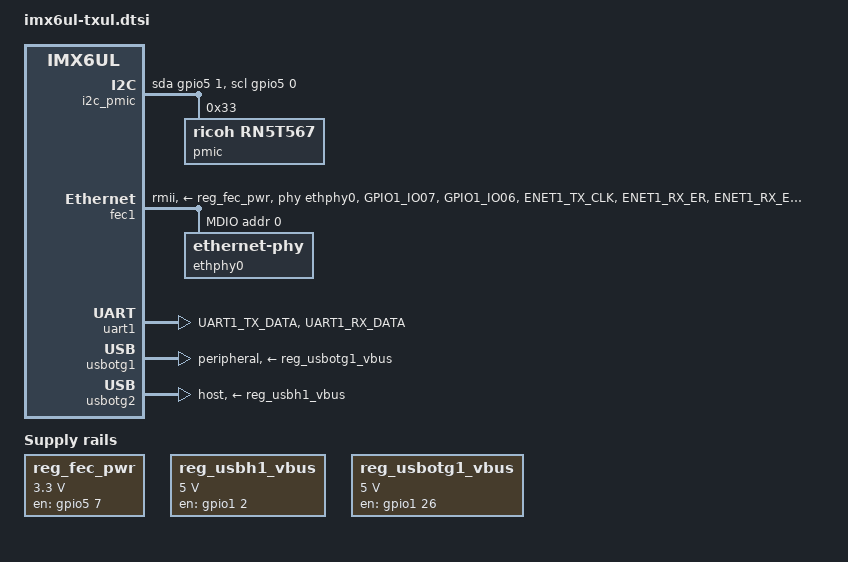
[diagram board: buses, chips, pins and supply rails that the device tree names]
// SPDX-License-Identifier: GPL-2.0+
/*
 * Copyright (C) 2026 Ka-Ro Electronics GmbH
 * TXUL module common part; SNVS groups stay per module.
 */

/ {
	aliases {
		/* Keep the PMIC bus at i2c0, like the legacy. */
		i2c0 = &i2c_pmic;
		serial0 = &uart1;
		usb0 = &usbotg1;
	};

	chosen {
		stdout-path = &uart1;
	};

	i2c_pmic: i2c-gpio {
		#address-cells = <1>;
		#size-cells = <0>;
		compatible = "i2c-gpio";
		pinctrl-names = "default";
		pinctrl-0 = <&pinctrl_i2c_pmic>;
		sda-gpios = <&gpio5 1 (GPIO_ACTIVE_HIGH | GPIO_OPEN_DRAIN)>;
		scl-gpios = <&gpio5 0 (GPIO_ACTIVE_HIGH | GPIO_OPEN_DRAIN)>;
		i2c-gpio,delay-us = <5>;
		status = "okay";

		pmic: pmic@33 {
			compatible = "ricoh,rn5t567";
			reg = <0x33>;
		};
	};

	reg_fec_pwr: regulator-fec-pwr {
		compatible = "regulator-fixed";
		regulator-name = "fec_pwr";
		regulator-min-microvolt = <3300000>;
		regulator-max-microvolt = <3300000>;
		pinctrl-names = "default";
		pinctrl-0 = <&pinctrl_fec_pwr>;
		gpio = <&gpio5 7 GPIO_ACTIVE_HIGH>;
		enable-active-high;
		regulator-boot-on;
		regulator-always-on;
	};

	reg_usbh1_vbus: regulator-usbh1-vbus {
		compatible = "regulator-fixed";
		regulator-name = "usbh1_vbus";
		regulator-min-microvolt = <5000000>;
		regulator-max-microvolt = <5000000>;
		pinctrl-names = "default";
		pinctrl-0 = <&pinctrl_usbh1_vbus &pinctrl_usbh1_oc>;
		gpio = <&gpio1 2 GPIO_ACTIVE_HIGH>;
		enable-active-high;
	};

	reg_usbotg1_vbus: regulator-usbotg1-vbus {
		compatible = "regulator-fixed";
		regulator-name = "usbotg1_vbus";
		regulator-min-microvolt = <5000000>;
		regulator-max-microvolt = <5000000>;
		pinctrl-names = "default";
		pinctrl-0 = <&pinctrl_usb_otg1>;
		gpio = <&gpio1 26 GPIO_ACTIVE_HIGH>;
		enable-active-high;
	};
};

&fec1 {
	pinctrl-names = "default";
	pinctrl-0 = <&pinctrl_fec1
		     &pinctrl_fec_reset
		     &pinctrl_fec_int>;
	phy-mode = "rmii";
	phy-handle = <&ethphy0>;
	phy-supply = <&reg_fec_pwr>;
	phy-reset-gpios = <&gpio5 6 GPIO_ACTIVE_LOW>;
	phy-reset-duration = <1>;
	phy-reset-post-delay = <22>;
	status = "okay";

	mdio {
		#address-cells = <1>;
		#size-cells = <0>;

		ethphy0: ethernet-phy@0 {
			reg = <0>;
		};
	};
};

&uart1 {
	pinctrl-names = "default";
	pinctrl-0 = <&pinctrl_uart1>;
	status = "okay";
};

&usbotg1 {
	/* USBOTG_ID not connected, K700-098B sheet 01 */
	dr_mode = "peripheral";
	vbus-supply = <&reg_usbotg1_vbus>;
	status = "okay";
};

&usbotg2 {
	dr_mode = "host";
	vbus-supply = <&reg_usbh1_vbus>;
	status = "okay";
};

&iomuxc {
	/* drive strengths from baf66ec0074 (EMC) */
	pinctrl_fec1: fec1grp {
		fsl,pins = <
			MX6UL_PAD_GPIO1_IO07__ENET1_MDC		0x00010
			MX6UL_PAD_GPIO1_IO06__ENET1_MDIO	0x0b010
			MX6UL_PAD_ENET1_TX_CLK__ENET1_REF_CLK1	0x40000018 /* SION loops the clock back */
			MX6UL_PAD_ENET1_RX_ER__ENET1_RX_ER	0x000d1 /* PHYAD0 strap: no pull */
			MX6UL_PAD_ENET1_RX_EN__ENET1_RX_EN	0x0b0d1
			MX6UL_PAD_ENET1_RX_DATA0__ENET1_RDATA00	0x0b0d1
			MX6UL_PAD_ENET1_RX_DATA1__ENET1_RDATA01	0x0b0d1
			MX6UL_PAD_ENET1_TX_EN__ENET1_TX_EN	0x0b0d1
			MX6UL_PAD_ENET1_TX_DATA0__ENET1_TDATA00	0x0b0d1
			MX6UL_PAD_ENET1_TX_DATA1__ENET1_TDATA01	0x0b0d1
		>;
	};

	pinctrl_uart1: uart1grp {
		fsl,pins = <
			MX6UL_PAD_UART1_TX_DATA__UART1_DCE_TX	0x0b0b0
			MX6UL_PAD_UART1_RX_DATA__UART1_DCE_RX	0x0b0b0
		>;
	};

	pinctrl_usb_otg1: usbotg1grp {
		fsl,pins = <
			MX6UL_PAD_UART3_CTS_B__GPIO1_IO26	0x100b0 /* MB7 R8 pulls down */
			MX6UL_PAD_UART3_RTS_B__GPIO1_IO27	0x07000
		>;
	};

	/* OC lines muxed only; usb_oc_config() disables detection unconditionally. */
	pinctrl_usbh1_oc: usbh1ocgrp {
		fsl,pins = <
			MX6UL_PAD_GPIO1_IO03__GPIO1_IO03	0x17059
		>;
	};

	pinctrl_usbh1_vbus: usbh1vbusgrp {
		fsl,pins = <
			MX6UL_PAD_GPIO1_IO02__GPIO1_IO02	0x000b0 /* MB7 R7 pulls down */
		>;
	};
};
